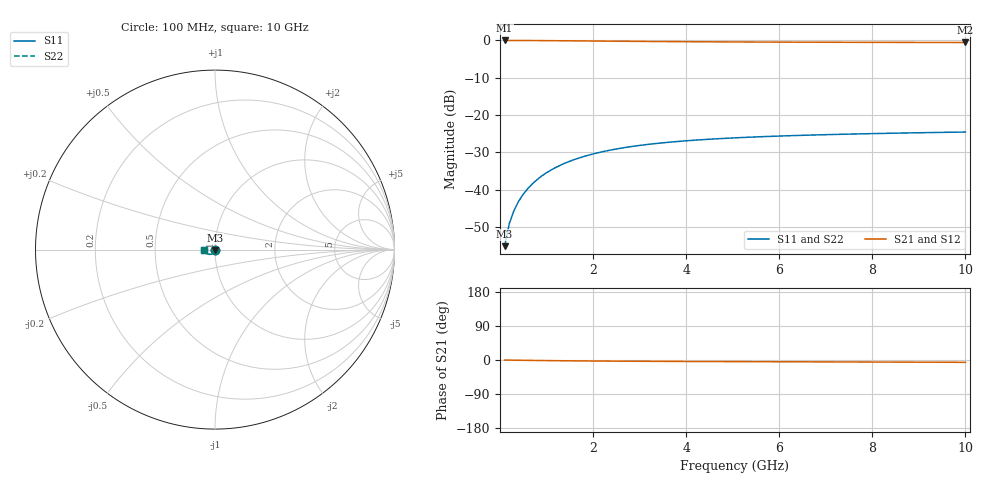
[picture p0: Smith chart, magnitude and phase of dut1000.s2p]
! Touchstone file exported from HFSS 2024.1.0
!  File:  C:/UserFiles/LocalFiles/RDL_TSV_Batchsim/temp_TSV1_1000_1780058010.aedt
!  Generated:  08:41:37 PM May 29, 2026
!  Design:  TSV1
!  Project:  temp_TSV1_1000_1780058010
!  Setup:  Setup1
!  Solution:  Sweep
! Variables:
!  dtsv = 12.37um
!  hbump = 3um
!  htsv = 95.54um
!  lrdl = 252.1521522um
!  p = 40
!  p1 = 56.97um
!  t = 500um
!  trdl = 3um
!  wrdl = 24.89489489um
# GHz S MA R 50.000000
! Terminal data exported
! Port[1] = TSV22_T1
! Port[2] = TSV22_T2
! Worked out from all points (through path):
!   100 points, 100 MHz to 10 GHz, reference 50 ohm
!   highest |S21| = 0.00 dB at 100 MHz (marker M1); lowest = -0.5 dB at 10 GHz (marker M2)
!   lowest |S11| = -55.1 dB at 100 MHz (marker M3), VSWR 1.00, Z = 50 - j0.175 ohm
!   |S11| at or under -10 dB: start of sweep to end of sweep
!   |S22| runs from -55.1 to -24.5 dB; largest |S21 - S12| = 7.3e-15
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0.1  0.001752 -88.5  0.9998 -0.2  0.9998 -0.2  0.001752 -88.5
! Gamma 0 0 0 0
! Port Impedance 50 0 50 0
0.2  0.003498 -92.0  0.9996 -0.3  0.9996 -0.3  0.003498 -92.0
0.3  0.005242 -94.4  0.9993 -0.5  0.9993 -0.5  0.005242 -94.4
0.4  0.006976 -96.6  0.9989 -0.6  0.9989 -0.6  0.006976 -96.6
0.5  0.008693 -98.7  0.9984 -0.8  0.9984 -0.8  0.008693 -98.7
0.6  0.01039 -100.7  0.9978 -1.0  0.9978 -1.0  0.01039 -100.7
0.7  0.01206 -102.6  0.997 -1.1  0.997 -1.1  0.01206 -102.6
0.8  0.0137 -104.6  0.9962 -1.2  0.9962 -1.2  0.0137 -104.6
0.9  0.0153 -106.5  0.9954 -1.4  0.9954 -1.4  0.0153 -106.5
1.1  0.01839 -110.1  0.9934 -1.7  0.9934 -1.7  0.01839 -110.1
1.4  0.02271 -115.3  0.9901 -2.0  0.9901 -2.0  0.02271 -115.3
1.6  0.02536 -118.6  0.9877 -2.2  0.9877 -2.2  0.02536 -118.6
1.8  0.02783 -121.8  0.9853 -2.5  0.9853 -2.5  0.02783 -121.8
2.1  0.03121 -126.2  0.9816 -2.7  0.9816 -2.7  0.03121 -126.2
2.5  0.03512 -131.6  0.9768 -3.0  0.9768 -3.0  0.03512 -131.6
2.9  0.03844 -136.4  0.9723 -3.3  0.9723 -3.3  0.03844 -136.4
3.4  0.04189 -141.8  0.9673 -3.6  0.9673 -3.6  0.04189 -141.8
4.2  0.04617 -149.2  0.9605 -4.0  0.9605 -4.0  0.04617 -149.2
5.1  0.0497 -156.1  0.9546 -4.3  0.9546 -4.3  0.0497 -156.1
6.7  0.05401 -165.8  0.9473 -4.9  0.9473 -4.9  0.05401 -165.8
8.4  0.05709 -174.0  0.9422 -5.5  0.9422 -5.5  0.05709 -174.0
10  0.05929 179.6  0.9391 -6.1  0.9391 -6.1  0.05929 179.6
